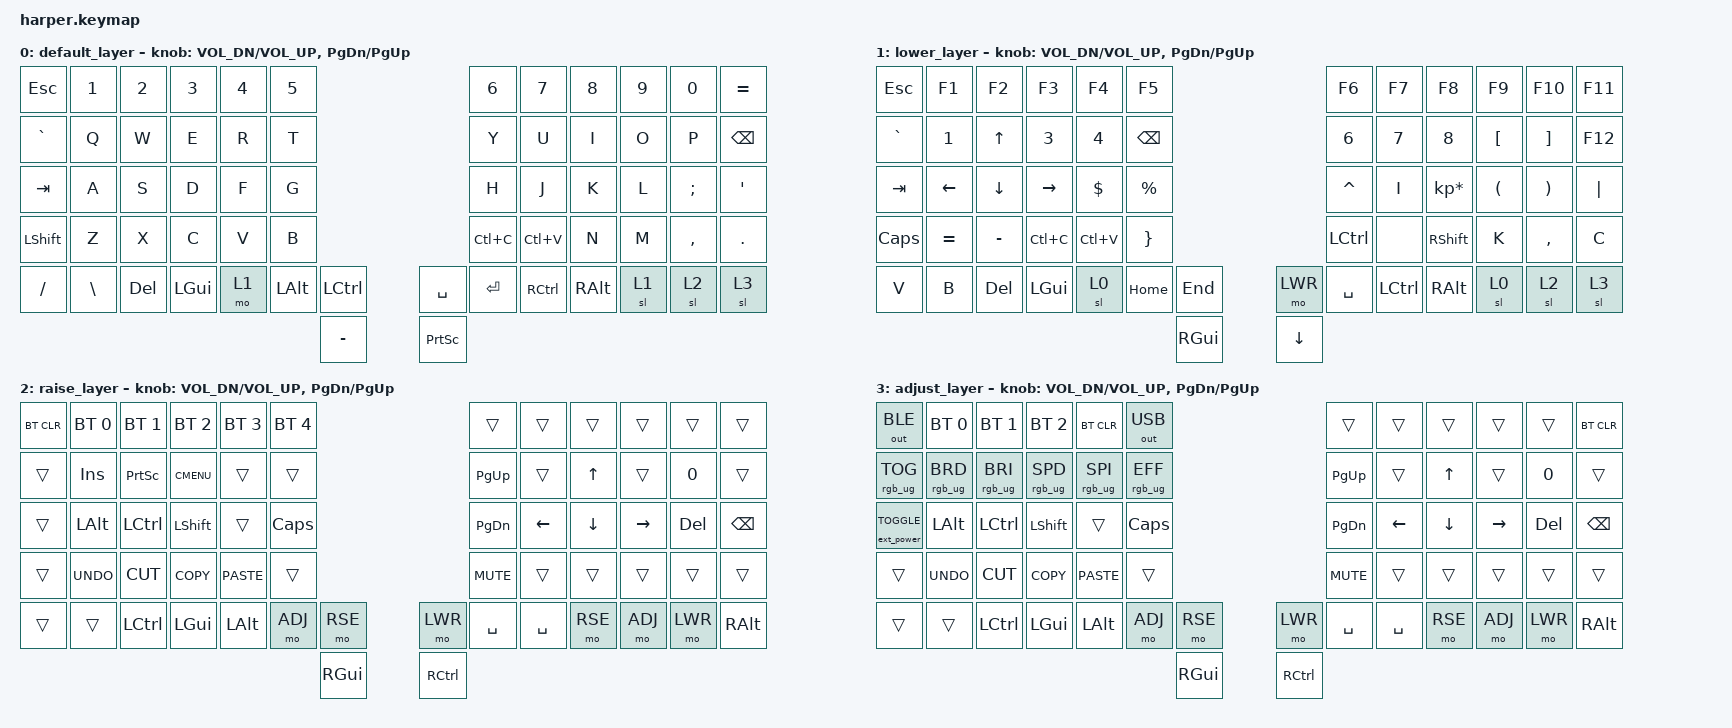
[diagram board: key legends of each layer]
#include <behaviors.dtsi>
#include <dt-bindings/zmk/bt.h>
#include <dt-bindings/zmk/ext_power.h>
#include <dt-bindings/zmk/keys.h>
#include <dt-bindings/zmk/outputs.h>
#include <dt-bindings/zmk/rgb.h>

#define DEF 0
#define LWR 1
#define RSE 2
#define ADJ 3

&lt {
    quick_tap_ms = <200>;
};

&mt {
    quick_tap_ms = <200>;
};

/ {
    keymap {
        compatible = "zmk,keymap";

        default_layer {
            bindings = <
&kp ESC    &kp N1         &kp N2      &kp N3    &kp N4  &kp N5                          &kp N6     &kp N7     &kp N8             &kp N9         &kp N0     &kp EQUAL
&kp GRAVE  &kp Q          &kp W       &kp E     &kp R   &kp T                           &kp Y      &kp U      &kp I              &kp O          &kp P      &kp BSPC
&kp TAB    &kp A          &kp S       &kp D     &kp F   &kp G                           &kp H      &kp J      &kp K              &kp L          &kp SEMI   &kp SQT
&kp LSHFT  &kp Z          &kp X       &kp C     &kp V   &kp B                           &kp LC(C)  &kp LC(V)  &kp N              &kp M          &kp COMMA  &kp DOT
&kp FSLH   &kp BACKSLASH  &kp DELETE  &kp LGUI  &mo 1   &kp LEFT_ALT  &kp LEFT_CONTROL  &kp SPACE  &kp ENTER  &kp RIGHT_CONTROL  &kp RIGHT_ALT  &sl 1      &sl 2      &sl 3
                                                                                        &kp MINUS                                                                     &kp PRINTSCREEN
            >;

            sensor-bindings = <&inc_dec_kp C_VOL_DN C_VOL_UP &inc_dec_kp PG_DN PG_UP>;
        };

        lower_layer {
            bindings = <
&kp ESC       &kp F1          &kp F2          &kp F3           &kp F4     &kp F5                  &kp F6            &kp F7     &kp F8            &kp F9         &kp F10            &kp F11
&kp GRAVE     &kp N1          &kp UP_ARROW    &kp N3           &kp N4     &kp BACKSPACE           &kp N6            &kp N7     &kp N8            &kp LBKT       &kp RIGHT_BRACKET  &kp F12
&kp TAB       &kp LEFT_ARROW  &kp DOWN_ARROW  &kp RIGHT_ARROW  &kp DLLR   &kp PRCNT               &kp CARET         &kp I      &kp KP_MULTIPLY   &kp LPAR       &kp RPAR           &kp PIPE
&kp CAPSLOCK  &kp EQUAL       &kp MINUS       &kp LC(C)        &kp LC(V)  &kp RBRC                &kp LEFT_CONTROL  &none      &kp RIGHT_SHIFT   &kp K          &kp COMMA          &kp C
&kp V         &kp B           &kp DELETE      &kp LGUI         &sl 0      &kp HOME       &kp END  &mo LWR           &kp SPACE  &kp LEFT_CONTROL  &kp RIGHT_ALT  &sl 0              &sl 2     &sl 3
                                                                                                  &kp RGUI                                                                                   &kp DOWN_ARROW
            >;

            sensor-bindings = <&inc_dec_kp C_VOL_DN C_VOL_UP &inc_dec_kp PG_DN PG_UP>;
        };

        raise_layer {
            bindings = <
&bt BT_CLR  &bt BT_SEL 0  &bt BT_SEL 1  &bt BT_SEL 2  &bt BT_SEL 3  &bt BT_SEL 4           &trans      &trans     &trans     &trans     &trans   &trans
&trans      &kp INS       &kp PSCRN     &kp K_CMENU   &trans        &trans                 &kp PG_UP   &trans     &kp UP     &trans     &kp N0   &trans
&trans      &kp LALT      &kp LCTRL     &kp LSHFT     &trans        &kp CLCK               &kp PG_DN   &kp LEFT   &kp DOWN   &kp RIGHT  &kp DEL  &kp BSPC
&trans      &kp K_UNDO    &kp K_CUT     &kp K_COPY    &kp K_PASTE   &trans                 &kp C_MUTE  &trans     &trans     &trans     &trans   &trans
&trans      &trans        &kp LCTRL     &kp LGUI      &kp LALT      &mo ADJ       &mo RSE  &mo LWR     &kp SPACE  &kp SPACE  &mo RSE    &mo ADJ  &mo LWR   &kp RALT
                                                                                           &kp RGUI                                                        &kp RCTRL
            >;

            sensor-bindings = <&inc_dec_kp C_VOL_DN C_VOL_UP &inc_dec_kp PG_DN PG_UP>;
        };

        adjust_layer {
            bindings = <
&out OUT_BLE                     &bt BT_SEL 0     &bt BT_SEL 1     &bt BT_SEL 2     &bt BT_CLR       &out OUT_USB              &trans      &trans     &trans     &trans     &trans   &bt BT_CLR
&rgb_ug RGB_TOG                  &rgb_ug RGB_BRD  &rgb_ug RGB_BRI  &rgb_ug RGB_SPD  &rgb_ug RGB_SPI  &rgb_ug RGB_EFF           &kp PG_UP   &trans     &kp UP     &trans     &kp N0   &trans
&ext_power EXT_POWER_TOGGLE_CMD  &kp LALT         &kp LCTRL        &kp LSHFT        &trans           &kp CLCK                  &kp PG_DN   &kp LEFT   &kp DOWN   &kp RIGHT  &kp DEL  &kp BSPC
&trans                           &kp K_UNDO       &kp K_CUT        &kp K_COPY       &kp K_PASTE      &trans                    &kp C_MUTE  &trans     &trans     &trans     &trans   &trans
&trans                           &trans           &kp LCTRL        &kp LGUI         &kp LALT         &mo ADJ          &mo RSE  &mo LWR     &kp SPACE  &kp SPACE  &mo RSE    &mo ADJ  &mo LWR     &kp RALT
                                                                                                                               &kp RGUI                                                          &kp RCTRL
            >;

            sensor-bindings = <&inc_dec_kp C_VOL_DN C_VOL_UP &inc_dec_kp PG_DN PG_UP>;
        };
    };
};
